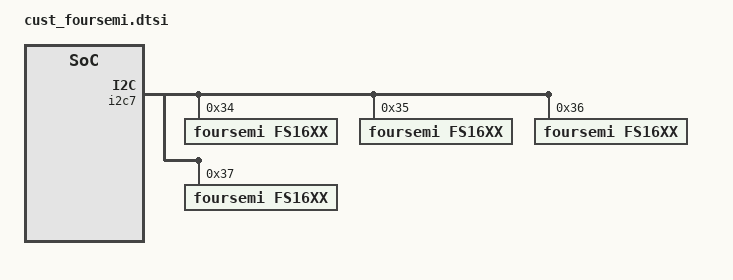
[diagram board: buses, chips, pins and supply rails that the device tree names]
/*
 * Copyright (c) 2019 MediaTek Inc.
 *
 * This program is free software; you can redistribute it and/or modify
 * it under the terms of the GNU General Public License version 2 as
 * published by the Free Software Foundation.
 *
 * This program is distributed in the hope that it will be useful,
 * but WITHOUT ANY WARRANTY; without even the implied warranty of
 * MERCHANTABILITY or FITNESS FOR A PARTICULAR PURPOSE.  See the
 * GNU General Public License for more details.
 */

&i2c7 {
	speaker_amp: speaker_amp@34 {
		status = "disabled";
	};
};

&i2c7 {
	fs16xx@34 {
		compatible = "foursemi,fs16xx";
		reg = <0x34>;
		fsm,position = "LTOP"; // left top
	    //fsm_vddd-supply = <&vdd_1v8_reg>; // Vddd-1.8V
		status = "okay";
	};

	fs16xx@35 {
		compatible = "foursemi,fs16xx";
		reg = <0x35>;
		fsm,position = "LBTM"; // left buttom
	    //fsm_vddd-supply = <&vdd_1v8_reg>; // Vddd-1.8V
		status = "okay";
	};

	fs16xx@36 {
		compatible = "foursemi,fs16xx";
		reg = <0x36>;
		fsm,position = "RTOP"; // right top
	    //fsm_vddd-supply = <&vdd_1v8_reg>; // Vddd-1.8V
		status = "okay";
	};

	fs16xx@37 {
		compatible = "foursemi,fs16xx";
		reg = <0x37>;
		fsm,position = "RBTM"; // right buttom
	    //fsm_vddd-supply = <&vdd_1v8_reg>; // Vddd-1.8V
		status = "okay";
	};
};
